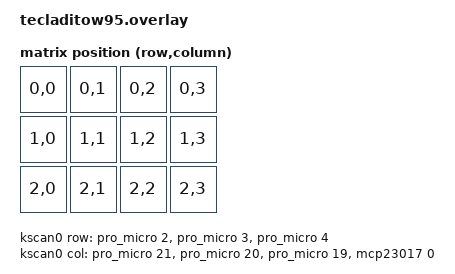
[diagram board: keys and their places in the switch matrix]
#include <dt-bindings/zmk/matrix_transform.h>

/ {
    kscan0: kscan0 {
        compatible = "zmk,kscan-gpio-matrix";
        diode-direction = "col2row";
        wakeup-source;

        col-gpios
            = <&pro_micro 21 GPIO_ACTIVE_HIGH>
            , <&pro_micro 20 GPIO_ACTIVE_HIGH>
            , <&pro_micro 19 GPIO_ACTIVE_HIGH>
            , <&mcp23017 0 GPIO_ACTIVE_HIGH>
            ;

        row-gpios
            = <&pro_micro 2 (GPIO_ACTIVE_HIGH | GPIO_PULL_DOWN)>
            , <&pro_micro 3 (GPIO_ACTIVE_HIGH | GPIO_PULL_DOWN)>
            , <&pro_micro 4 (GPIO_ACTIVE_HIGH | GPIO_PULL_DOWN)>
            ;
    };

    default_transform: matrix_transform {
        compatible = "zmk,matrix-transform";
        columns = <4>;
        rows = <3>;
        map = <
            RC(0,0) RC(0,1) RC(0,2) RC(0,3)
            RC(1,0) RC(1,1) RC(1,2) RC(1,3)
            RC(2,0) RC(2,1) RC(2,2) RC(2,3)
        >;
    };

    physical_layout0: physical_layout0 {
        compatible = "zmk,physical-layout";
        display-name = "Default Layout";
        kscan = <&kscan0>;
        transform = <&default_transform>;
    };

    chosen {
        zmk,physical-layout = &physical_layout0;
    };
};

&i2c0 {
    status = "okay";

    mcp23017: mcp23017@20 {
        compatible = "microchip,mcp230xx";
        reg = <0x20>;

        ngpios = <16>;

        gpio-controller;
        #gpio-cells = <2>;
        label = "MCP23017";
    };
};
